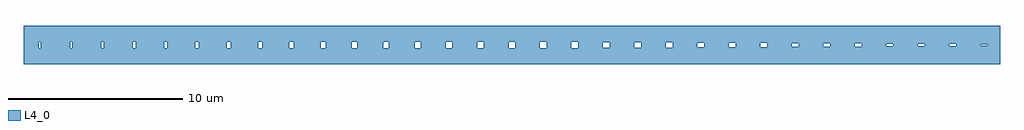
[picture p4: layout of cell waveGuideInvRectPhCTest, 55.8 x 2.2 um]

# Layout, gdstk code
import gdstk
lib = gdstk.Library(unit=1e-6, precision=1e-09)
def P(c, l, *ps):  # polygons
    for p in ps: c.add(gdstk.Polygon(p, *l))
L4_0 = (4, 0)

waveguideinvrectphctest = lib.new_cell('waveGuideInvRectPhCTest')
P(waveguideinvrectphctest, L4_0, [(-32.9,-5.1),(-32.9,-4.2),(-31.95,-4.2),(-31.95,-3.8),(-32.05,-3.8),(-32.05,-4.2),(-32.9,-4.2),(-32.9,-2.9),(-31.1,-2.9),(-31.1,-5.1)],
  [(-31.1,-5.1),(-31.1,-4.2),(-30.14,-4.2),(-30.14,-3.8),(-30.26,-3.8),(-30.26,-4.2),(-31.1,-4.2),(-31.1,-2.9),(-29.3,-2.9),(-29.3,-5.1)],
  [(-29.3,-5.1),(-29.3,-4.2),(-28.33,-4.2),(-28.33,-3.8),(-28.47,-3.8),(-28.47,-4.2),(-29.3,-4.2),(-29.3,-2.9),(-27.5,-2.9),(-27.5,-5.1)],
  [(-27.5,-5.1),(-27.5,-4.2),(-26.52,-4.2),(-26.52,-3.8),(-26.68,-3.8),(-26.68,-4.2),(-27.5,-4.2),(-27.5,-2.9),(-25.7,-2.9),(-25.7,-5.1)],
  [(-25.7,-5.1),(-25.7,-4.2),(-24.71,-4.2),(-24.71,-3.8),(-24.89,-3.8),(-24.89,-4.2),(-25.7,-4.2),(-25.7,-2.9),(-23.9,-2.9),(-23.9,-5.1)],
  [(-23.9,-5.1),(-23.9,-4.2),(-22.9,-4.2),(-22.9,-3.8),(-23.1,-3.8),(-23.1,-4.2),(-23.9,-4.2),(-23.9,-2.9),(-22.1,-2.9),(-22.1,-5.1)],
  [(-22.1,-5.1),(-22.1,-4.2),(-21.09,-4.2),(-21.09,-3.8),(-21.31,-3.8),(-21.31,-4.2),(-22.1,-4.2),(-22.1,-2.9),(-20.3,-2.9),(-20.3,-5.1)],
  [(-20.3,-5.1),(-20.3,-4.2),(-19.28,-4.2),(-19.28,-3.8),(-19.52,-3.8),(-19.52,-4.2),(-20.3,-4.2),(-20.3,-2.9),(-18.5,-2.9),(-18.5,-5.1)],
  [(-18.5,-5.1),(-18.5,-4.2),(-17.47,-4.2),(-17.47,-3.8),(-17.73,-3.8),(-17.73,-4.2),(-18.5,-4.2),(-18.5,-2.9),(-16.7,-2.9),(-16.7,-5.1)],
  [(-16.7,-5.1),(-16.7,-4.2),(-15.66,-4.2),(-15.66,-3.8),(-15.94,-3.8),(-15.94,-4.2),(-16.7,-4.2),(-16.7,-2.9),(-14.9,-2.9),(-14.9,-5.1)],
  [(-14.9,-5.1),(-14.9,-4.2),(-13.85,-4.2),(-13.85,-3.8),(-14.15,-3.8),(-14.15,-4.2),(-14.9,-4.2),(-14.9,-2.9),(-13.1,-2.9),(-13.1,-5.1)],
  [(-13.1,-5.1),(-13.1,-4.2),(-12.04,-4.2),(-12.04,-3.8),(-12.36,-3.8),(-12.36,-4.2),(-13.1,-4.2),(-13.1,-2.9),(-11.3,-2.9),(-11.3,-5.1)],
  [(-11.3,-5.1),(-11.3,-4.2),(-10.23,-4.2),(-10.23,-3.8),(-10.57,-3.8),(-10.57,-4.2),(-11.3,-4.2),(-11.3,-2.9),(-9.5,-2.9),(-9.5,-5.1)],
  [(-9.5,-5.1),(-9.5,-4.2),(-8.42,-4.2),(-8.42,-3.8),(-8.78,-3.8),(-8.78,-4.2),(-9.5,-4.2),(-9.5,-2.9),(-7.7,-2.9),(-7.7,-5.1)],
  [(-7.7,-5.1),(-7.7,-4.2),(-6.61,-4.2),(-6.61,-3.8),(-6.99,-3.8),(-6.99,-4.2),(-7.7,-4.2),(-7.7,-2.9),(-5.9,-2.9),(-5.9,-5.1)],
  [(-5.9,-5.1),(-5.9,-4.2),(-4.8,-4.2),(-4.8,-3.8),(-5.2,-3.8),(-5.2,-4.2),(-5.9,-4.2),(-5.9,-2.9),(-4.1,-2.9),(-4.1,-5.1)],
  [(-4.1,-5.1),(-4.1,-4.19),(-3,-4.19),(-3,-3.81),(-3.4,-3.81),(-3.4,-4.19),(-4.1,-4.19),(-4.1,-2.9),(-2.3,-2.9),(-2.3,-5.1)],
  [(-2.3,-5.1),(-2.3,-4.18),(-1.2,-4.18),(-1.2,-3.82),(-1.6,-3.82),(-1.6,-4.18),(-2.3,-4.18),(-2.3,-2.9),(-0.5,-2.9),(-0.5,-5.1)],
  [(-0.5,-5.1),(-0.5,-4.17),(0.6,-4.17),(0.6,-3.83),(0.2,-3.83),(0.2,-4.17),(-0.5,-4.17),(-0.5,-2.9),(1.3,-2.9),(1.3,-5.1)],
  [(1.3,-5.1),(1.3,-4.16),(2.4,-4.16),(2.4,-3.84),(2,-3.84),(2,-4.16),(1.3,-4.16),(1.3,-2.9),(3.1,-2.9),(3.1,-5.1)],
  [(3.1,-5.1),(3.1,-4.15),(4.2,-4.15),(4.2,-3.85),(3.8,-3.85),(3.8,-4.15),(3.1,-4.15),(3.1,-2.9),(4.9,-2.9),(4.9,-5.1)],
  [(4.9,-5.1),(4.9,-4.14),(6,-4.14),(6,-3.86),(5.6,-3.86),(5.6,-4.14),(4.9,-4.14),(4.9,-2.9),(6.7,-2.9),(6.7,-5.1)],
  [(6.7,-5.1),(6.7,-4.13),(7.8,-4.13),(7.8,-3.87),(7.4,-3.87),(7.4,-4.13),(6.7,-4.13),(6.7,-2.9),(8.5,-2.9),(8.5,-5.1)],
  [(8.5,-5.1),(8.5,-4.12),(9.6,-4.12),(9.6,-3.88),(9.2,-3.88),(9.2,-4.12),(8.5,-4.12),(8.5,-2.9),(10.3,-2.9),(10.3,-5.1)],
  [(10.3,-5.1),(10.3,-4.11),(11.4,-4.11),(11.4,-3.89),(11,-3.89),(11,-4.11),(10.3,-4.11),(10.3,-2.9),(12.1,-2.9),(12.1,-5.1)],
  [(12.1,-5.1),(12.1,-4.1),(13.2,-4.1),(13.2,-3.9),(12.8,-3.9),(12.8,-4.1),(12.1,-4.1),(12.1,-2.9),(13.9,-2.9),(13.9,-5.1)],
  [(13.9,-5.1),(13.9,-4.09),(15,-4.09),(15,-3.91),(14.6,-3.91),(14.6,-4.09),(13.9,-4.09),(13.9,-2.9),(15.7,-2.9),(15.7,-5.1)],
  [(15.7,-5.1),(15.7,-4.08),(16.8,-4.08),(16.8,-3.92),(16.4,-3.92),(16.4,-4.08),(15.7,-4.08),(15.7,-2.9),(17.5,-2.9),(17.5,-5.1)],
  [(17.5,-5.1),(17.5,-4.07),(18.6,-4.07),(18.6,-3.93),(18.2,-3.93),(18.2,-4.07),(17.5,-4.07),(17.5,-2.9),(19.3,-2.9),(19.3,-5.1)],
  [(19.3,-5.1),(19.3,-4.06),(20.4,-4.06),(20.4,-3.94),(20,-3.94),(20,-4.06),(19.3,-4.06),(19.3,-2.9),(21.1,-2.9),(21.1,-5.1)],
  [(21.1,-5.1),(21.1,-4.05),(22.2,-4.05),(22.2,-3.95),(21.8,-3.95),(21.8,-4.05),(21.1,-4.05),(21.1,-2.9),(22.9,-2.9),(22.9,-5.1)])

lib.write_gds('waveGuideInvRectPhCTest.gds')
